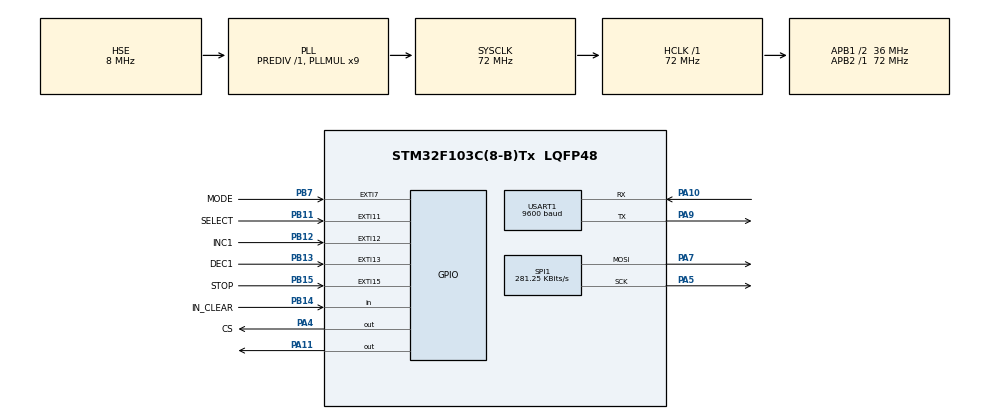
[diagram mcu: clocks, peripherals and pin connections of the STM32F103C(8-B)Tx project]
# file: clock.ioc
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Dma.Request0=SPI1_TX
Dma.Request1=USART1_RX
Dma.Request2=USART1_TX
Dma.SPI1_TX.0.Direction=DMA_MEMORY_TO_PERIPH
Dma.SPI1_TX.0.Instance=DMA1_Channel3
Dma.SPI1_TX.0.MemDataAlignment=DMA_MDATAALIGN_BYTE
Dma.SPI1_TX.0.MemInc=DMA_MINC_ENABLE
Dma.SPI1_TX.0.Mode=DMA_NORMAL
Dma.SPI1_TX.0.PeriphDataAlignment=DMA_PDATAALIGN_BYTE
Dma.SPI1_TX.0.PeriphInc=DMA_PINC_DISABLE
Dma.SPI1_TX.0.Priority=DMA_PRIORITY_LOW
Dma.USART1_RX.1.Direction=DMA_PERIPH_TO_MEMORY
Dma.USART1_RX.1.Instance=DMA1_Channel5
Dma.USART1_RX.1.MemDataAlignment=DMA_MDATAALIGN_BYTE
Dma.USART1_RX.1.MemInc=DMA_MINC_ENABLE
Dma.USART1_RX.1.Mode=DMA_CIRCULAR
Dma.USART1_RX.1.PeriphDataAlignment=DMA_PDATAALIGN_BYTE
Dma.USART1_RX.1.PeriphInc=DMA_PINC_DISABLE
Dma.USART1_RX.1.Priority=DMA_PRIORITY_LOW
Dma.USART1_TX.2.Direction=DMA_MEMORY_TO_PERIPH
Dma.USART1_TX.2.Instance=DMA1_Channel4
Dma.USART1_TX.2.MemDataAlignment=DMA_MDATAALIGN_BYTE
Dma.USART1_TX.2.MemInc=DMA_MINC_ENABLE
Dma.USART1_TX.2.Mode=DMA_NORMAL
Dma.USART1_TX.2.PeriphDataAlignment=DMA_PDATAALIGN_BYTE
Dma.USART1_TX.2.PeriphInc=DMA_PINC_DISABLE
Dma.USART1_TX.2.Priority=DMA_PRIORITY_LOW
Mcu.Family=STM32F1
Mcu.Name=STM32F103C(8-B)Tx
Mcu.Package=LQFP48
NVIC.DMA1_Channel3_IRQn=true\:6\:0\:true\:false\:true\:false\:true\:true
NVIC.DMA1_Channel4_IRQn=true\:0\:0\:false\:false\:true\:false\:true\:true
NVIC.DMA1_Channel5_IRQn=true\:0\:0\:false\:false\:true\:false\:true\:true
NVIC.EXTI15_10_IRQn=true\:0\:0\:false\:false\:true\:true\:true\:true
NVIC.EXTI9_5_IRQn=true\:0\:0\:false\:false\:true\:true\:true\:true
NVIC.PriorityGroup=NVIC_PRIORITYGROUP_4
NVIC.TIM1_UP_IRQn=true\:0\:0\:false\:false\:true\:true\:true\:true
PA10.Mode=Asynchronous
PA10.Signal=USART1_RX
PA11.GPIO_PuPd=GPIO_PULLDOWN
PA11.Signal=GPIO_Output
PA13.Mode=Serial_Wire
PA13.Signal=SYS_JTMS-SWDIO
PA14.Mode=Serial_Wire
PA14.Signal=SYS_JTCK-SWCLK
PA4.GPIO_Label=CS
PA4.GPIO_PuPd=GPIO_PULLDOWN
PA4.Signal=GPIO_Output
PA5.Mode=TX_Only_Simplex_Unidirect_Master
PA5.Signal=SPI1_SCK
PA7.Mode=TX_Only_Simplex_Unidirect_Master
PA7.Signal=SPI1_MOSI
PA9.Mode=Asynchronous
PA9.Signal=USART1_TX
PB11.GPIO_Label=SELECT
PB11.GPIO_ModeDefaultEXTI=GPIO_MODE_IT_FALLING
PB11.GPIO_PuPd=GPIO_PULLUP
PB11.Signal=GPXTI11
PB12.GPIO_Label=INC1
PB12.GPIO_ModeDefaultEXTI=GPIO_MODE_IT_FALLING
PB12.GPIO_PuPd=GPIO_PULLUP
PB12.Signal=GPXTI12
PB13.GPIO_Label=DEC1
PB13.GPIO_ModeDefaultEXTI=GPIO_MODE_IT_FALLING
PB13.GPIO_PuPd=GPIO_PULLUP
PB13.Signal=GPXTI13
PB14.GPIO_Label=IN_CLEAR
PB14.GPIO_PuPd=GPIO_PULLDOWN
PB14.Signal=GPIO_Input
PB15.GPIO_Label=STOP
PB15.GPIO_ModeDefaultEXTI=GPIO_MODE_IT_FALLING
PB15.GPIO_PuPd=GPIO_PULLUP
PB15.Signal=GPXTI15
PB7.GPIO_Label=MODE
PB7.GPIO_ModeDefaultEXTI=GPIO_MODE_IT_FALLING
PB7.GPIO_PuPd=GPIO_PULLUP
PB7.Signal=GPXTI7
PD0-OSC_IN.Mode=HSE-External-Oscillator
PD0-OSC_IN.Signal=RCC_OSC_IN
PD1-OSC_OUT.Mode=HSE-External-Oscillator
PD1-OSC_OUT.Signal=RCC_OSC_OUT
ProjectManager.HeapSize=0x600
ProjectManager.StackSize=0x600
ProjectManager.TargetToolchain=MDK-ARM V5.32
RCC.AHBFreq_Value=72000000
RCC.APB1CLKDivider=RCC_HCLK_DIV2
RCC.APB1Freq_Value=36000000
RCC.APB1TimFreq_Value=72000000
RCC.APB2Freq_Value=72000000
RCC.APB2TimFreq_Value=72000000
RCC.HCLKFreq_Value=72000000
RCC.PLLMUL=RCC_PLL_MUL9
RCC.PLLSourceVirtual=RCC_PLLSOURCE_HSE
RCC.SYSCLKFreq_VALUE=72000000
RCC.SYSCLKSource=RCC_SYSCLKSOURCE_PLLCLK
RCC.USBFreq_Value=72000000
SPI1.BaudRatePrescaler=SPI_BAUDRATEPRESCALER_256
SPI1.CLKPhase=SPI_PHASE_1EDGE
SPI1.CLKPolarity=SPI_POLARITY_LOW
SPI1.CalculateBaudRate=281.25 KBits/s
SPI1.Direction=SPI_DIRECTION_2LINES
SPI1.Mode=SPI_MODE_MASTER
SPI1.VirtualType=VM_MASTER
TIM1.AutoReloadPreload=TIM_AUTORELOAD_PRELOAD_ENABLE
TIM1.Period=1000-1
TIM1.Prescaler=72-1
USART1.BaudRate=9600
USART1.Mode=MODE_TX_RX
USART1.VirtualMode=VM_ASYNC
VP_TIM1_VS_ClockSourceINT.Mode=Internal
board=custom

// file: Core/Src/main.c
/* USER CODE BEGIN Header */
/**
  ******************************************************************************
  * @file           : main.c
  * @brief          : Main program body
  ******************************************************************************
  * @attention
  *
  * Copyright (c) 2024 STMicroelectronics.
  * All rights reserved.
  *
  * This software is licensed under terms that can be found in the LICENSE file
  * in the root directory of this software component.
  * If no LICENSE file comes with this software, it is provided AS-IS.
  *
  ******************************************************************************
  */
/* USER CODE END Header */
#include "main.h"
#include "dma.h"
#include "spi.h"
#include "tim.h"
#include "usart.h"
#include "gpio.h"

/* USER CODE BEGIN Includes */
#include "smg.h"
/* USER CODE END Includes */

void SystemClock_Config(void);
/* USER CODE BEGIN PFP */
uint8_t tdata[6]={0xC0};
uint8_t clock_set[3]={0,0,10};
uint8_t disp[20]={'s','e','t',' ','c','l','o','c','k',':',' ','0','1',':','0','1',':','0','1','\r'};
uint32_t msTicks=0, count_time=0,*pcount=&count_time;

uint16_t time[3]={0}; //uint16_t time[0]=hour, time[1]=minute, time[2]=second;

_Bool stop_flag=1,clear_flag=0, INC1=0, DEC1=0;
uint8_t select=0;

_Bool mode_flag=1;
uint32_t countdown=0,*pdown=&countdown;

/* USER CODE END PFP */

int main(void)
{

  /* MCU Configuration--------------------------------------------------------*/

  /* Reset of all peripherals, Initializes the Flash interface and the Systick. */
  HAL_Init();

  /* Configure the system clock */
  SystemClock_Config();

  /* Initialize all configured peripherals */
  MX_GPIO_Init();
  MX_DMA_Init();
  MX_SPI1_Init();
  MX_TIM1_Init();
  MX_USART1_UART_Init();
  /* USER CODE BEGIN 2 */
	HAL_GPIO_WritePin(GPIOA,GPIO_PIN_4,GPIO_PIN_RESET);
	smg_Display(tdata);
	HAL_TIM_Base_Start_IT(&htim1);
	HAL_UART_Receive_DMA(&huart1,clock_set,3); //接收到的为ASC11码，数字字符;

  /* USER CODE END 2 */

  /* Infinite loop */
  /* USER CODE BEGIN WHILE */
  while (1)
  {
		clear_flag=HAL_GPIO_ReadPin(GPIOB,GPIO_PIN_14);
    /* USER CODE END WHILE */

  }
}

void SystemClock_Config(void)
{
  RCC_OscInitTypeDef RCC_OscInitStruct = {0};
  RCC_ClkInitTypeDef RCC_ClkInitStruct = {0};

  /** Initializes the RCC Oscillators according to the specified parameters
  * in the RCC_OscInitTypeDef structure.
  */
  RCC_OscInitStruct.OscillatorType = RCC_OSCILLATORTYPE_HSE;
  RCC_OscInitStruct.HSEState = RCC_HSE_ON;
  RCC_OscInitStruct.HSEPredivValue = RCC_HSE_PREDIV_DIV1;
  RCC_OscInitStruct.HSIState = RCC_HSI_ON;
  RCC_OscInitStruct.PLL.PLLState = RCC_PLL_ON;
  RCC_OscInitStruct.PLL.PLLSource = RCC_PLLSOURCE_HSE;
  RCC_OscInitStruct.PLL.PLLMUL = RCC_PLL_MUL9;
  if (HAL_RCC_OscConfig(&RCC_OscInitStruct) != HAL_OK)
  {
    Error_Handler();
  }

  /** Initializes the CPU, AHB and APB buses clocks
  */
  RCC_ClkInitStruct.ClockType = RCC_CLOCKTYPE_HCLK|RCC_CLOCKTYPE_SYSCLK
                              |RCC_CLOCKTYPE_PCLK1|RCC_CLOCKTYPE_PCLK2;
  RCC_ClkInitStruct.SYSCLKSource = RCC_SYSCLKSOURCE_PLLCLK;
  RCC_ClkInitStruct.AHBCLKDivider = RCC_SYSCLK_DIV1;
  RCC_ClkInitStruct.APB1CLKDivider = RCC_HCLK_DIV2;
  RCC_ClkInitStruct.APB2CLKDivider = RCC_HCLK_DIV1;

  if (HAL_RCC_ClockConfig(&RCC_ClkInitStruct, FLASH_LATENCY_2) != HAL_OK)
  {
    Error_Handler();
  }
}

/* USER CODE BEGIN 4 */
void HAL_GPIO_EXTI_Callback(uint16_t GPIO_Pin)
{
   if(GPIO_Pin==GPIO_PIN_11) select=(select+1)%4;
	 else if(GPIO_Pin==GPIO_PIN_12) INC1=1;
	 else if(GPIO_Pin==GPIO_PIN_13) DEC1=1;
	 else if(GPIO_Pin==GPIO_PIN_15) stop_flag=!stop_flag;
	 else if(GPIO_Pin==GPIO_PIN_7)
	 {
		 mode_flag=!mode_flag;
		 msTicks=0,stop_flag=1;
		 HAL_GPIO_WritePin(GPIOA,GPIO_PIN_11,GPIO_PIN_RESET),count_time=0;
		 select=0;
		 countdown=clock_set[2]+clock_set[1]*60+clock_set[0]*3600;
	 }
}

void HAL_TIM_PeriodElapsedCallback(TIM_HandleTypeDef *htim)
{
	  HAL_GPIO_WritePin(GPIOA,GPIO_PIN_4,GPIO_PIN_RESET);

	if(mode_flag) //时钟;
	{
	  if(stop_flag==0)
		{
			msTicks++;
		  if(msTicks%1000==0) count_time++;
			if(count_time==86400) count_time=0,stop_flag=1;
		}
	  if(msTicks>=86400000) msTicks%=86400000;
	  if(clear_flag) msTicks=0,count_time=0,HAL_GPIO_WritePin(GPIOA,GPIO_PIN_11,GPIO_PIN_RESET);

	  time[2]=count_time%60;
		time[1]=(count_time/60)%60;
		time[0]=(count_time/60/60)%24;

	  Setnum(pcount, time ,select, INC1, DEC1);
		INC1=0,DEC1=0;
		test_clock(time,clock_set);
	}

	else //倒计时
	{
		if(stop_flag==0)
		{
			msTicks++;
		  if(msTicks%1000==0) countdown--;
			if(countdown==0) stop_flag=1, HAL_GPIO_WritePin(GPIOA,GPIO_PIN_11,GPIO_PIN_SET);
		}
		if(msTicks>=86400000) msTicks%=86400000;
	  if(clear_flag) msTicks=0, countdown=clock_set[2]+clock_set[1]*60+clock_set[0]*3600, HAL_GPIO_WritePin(GPIOA,GPIO_PIN_11,GPIO_PIN_RESET);

		time[2]=countdown%60;
		time[1]=(countdown/60)%60;
		time[0]=(countdown/60/60)%24;

	  Setnum(pdown, time ,select, INC1, DEC1);
		INC1=0,DEC1=0;
	}
		setdata(time,select,tdata);
		smg_Display(tdata);
}

void HAL_SPI_TxCpltCallback(SPI_HandleTypeDef *hspi)
{
//		HAL_SPI_DMAStop(&hspi1);
    HAL_GPIO_WritePin(GPIOA,GPIO_PIN_4,GPIO_PIN_SET);
}

void HAL_UART_RxCpltCallback(UART_HandleTypeDef *huart)
{
	clock_set[0]=(clock_set[0]-0x30)%24;
	disp[11]= 0x30+clock_set[0]/10;
	disp[12]= 0x30+clock_set[0]%10;
	clock_set[1]=(clock_set[1]-0x30)%60;
	disp[14]= 0x30+clock_set[1]/10;
	disp[15]= 0x30+clock_set[1]%10;
	clock_set[2]=(clock_set[2]-0x30)%60;
	disp[17]= 0x30+clock_set[2]/10;
	disp[18]= 0x30+clock_set[2]%10;
	if(mode_flag==0) countdown=clock_set[2]+clock_set[1]*60+clock_set[0]*3600;
	HAL_UART_Transmit_DMA(&huart1,disp, 20);
}

/* USER CODE END 4 */

void Error_Handler(void)
{
  __disable_irq();
  while (1)
  {
  }
}
